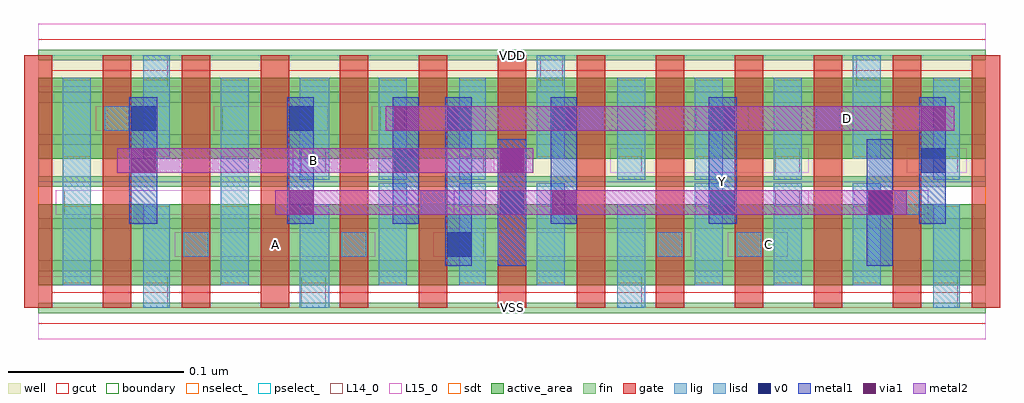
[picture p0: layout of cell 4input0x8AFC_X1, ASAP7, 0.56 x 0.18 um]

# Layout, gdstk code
import gdstk
lib = gdstk.Library(unit=1e-6, precision=1e-09)
def R(c, l, rs):  # rectangles x0, y0, x1, y1
    for r in rs: c.add(gdstk.rectangle(r[:2], r[2:], *l))
def A(c, l, x, y, w, h, nx, ny, dx, dy):  # array of equal rectangles
    R(c, l, [(x+i*dx, y+j*dy, x+i*dx+w, y+j*dy+h) for i in range(nx) for j in range(ny)])
def P(c, l, *ps):  # polygons
    for p in ps: c.add(gdstk.Polygon(p, *l))
well = (1, 0)
fin = (2, 0)
gate = (7, 0)
gcut = (10, 0)
active_area = (11, 0)
nselect_ = (12, 0)
pselect_ = (13, 0)
L14_0 = (14, 0)
L15_0 = (15, 0)
lig = (16, 0)
lisd = (17, 0)
v0 = (18, 0)
metal1 = (19, 0)
metal2 = (20, 0)
via1 = (21, 0)
sdt = (88, 0)
boundary = (100, 0)

c_4input0x8afc_x1 = lib.new_cell('4input0x8AFC_X1')
R(c_4input0x8afc_x1, well, [(0,0.072,0.54,0.144)])
A(c_4input0x8afc_x1, fin, 0, -0.003, 0.54, 0.006, 1, 7, 0, 0.024)
A(c_4input0x8afc_x1, gate, -0.008, 0, 0.016, 0.144, 13, 1, 0.045, 0)
P(c_4input0x8afc_x1, gcut, [(0,-0.009),(0,0),(-0.008,0),(-0.008,0.135),(0.008,0.135),(0.008,0.009),(0.127,0.009),(0.127,0.135),(0.143,0.135),(0.143,0.009),(0.532,0.009),(0.532,0.135),(-0.008,0.135),(-0.008,0.144),(0,0.144),(0,0.153),(0.54,0.153),(0.54,0.144),(0.548,0.144),(0.548,0),(0.54,0),(0.54,-0.009)])
R(c_4input0x8afc_x1, active_area, [(0,0.013,0.54,0.059), (0,0.085,0.54,0.131)])
R(c_4input0x8afc_x1, nselect_, [(0,0,0.54,0.072)])
R(c_4input0x8afc_x1, pselect_, [(0,0.072,0.54,0.144)])
A(c_4input0x8afc_x1, L14_0, 0.15, 0, 0.014, 0.018, 3, 1, 0.18, 0)
A(c_4input0x8afc_x1, L14_0, 0.15, 0.077, 0.014, 0.014, 5, 1, 0.09, 0)
R(c_4input0x8afc_x1, L14_0, [(0.06,0,0.074,0.018), (0.083,0.029,0.097,0.043), (0.173,0.029,0.187,0.043), (0.24,0.029,0.254,0.043), (0.353,0.029,0.367,0.043), (0.398,0.029,0.412,0.043), (0.015,0.053,0.03,0.067), (0.218,0.053,0.232,0.067), (0.263,0.053,0.277,0.067), (0.42,0.053,0.434,0.067), (0.488,0.053,0.502,0.067), (0.038,0.101,0.052,0.115), (0.105,0.101,0.12,0.115), (0.195,0.101,0.209,0.115), (0.308,0.101,0.322,0.115), (0.375,0.101,0.389,0.115), (0.443,0.101,0.457,0.115), (0.06,0.126,0.074,0.144), (0.286,0.126,0.299,0.144), (0.466,0.126,0.48,0.144)])
R(c_4input0x8afc_x1, L15_0, [(0,-0.018,0.54,0.018), (0.078,0.029,0.192,0.043), (0.225,0.029,0.372,0.043), (0.393,0.029,0.427,0.043), (0.01,0.053,0.237,0.067), (0.255,0.053,0.292,0.067), (0.375,0.053,0.439,0.067), (0.465,0.053,0.507,0.067), (0.145,0.077,0.26,0.091), (0.326,0.077,0.439,0.091), (0.495,0.077,0.529,0.091), (0.033,0.101,0.075,0.115), (0.1,0.101,0.165,0.115), (0.19,0.101,0.255,0.115), (0.285,0.101,0.327,0.115), (0.37,0.101,0.405,0.115), (0.438,0.101,0.472,0.115), (0,0.126,0.54,0.162)])
R(c_4input0x8afc_x1, lig, [(0.083,0.029,0.097,0.043), (0.173,0.029,0.187,0.043), (0.353,0.029,0.367,0.043), (0.398,0.029,0.412,0.043), (0.218,0.053,0.232,0.067), (0.263,0.053,0.277,0.067), (0.488,0.053,0.502,0.067), (0.038,0.101,0.052,0.115), (0.308,0.101,0.322,0.115), (0.443,0.101,0.457,0.115)])
A(c_4input0x8afc_x1, lisd, 0.194, 0.013, 0.016, 0.058, 3, 1, 0.09, 0)
R(c_4input0x8afc_x1, lisd, [(0.06,0,0.075,0.059), (0.149,0,0.166,0.059), (0.33,0,0.346,0.059), (0.51,0,0.525,0.059), (0.014,0.013,0.03,0.131), (0.104,0.013,0.12,0.131), (0.24,0.013,0.255,0.071), (0.419,0.013,0.435,0.071), (0.464,0.013,0.48,0.071), (0.149,0.073,0.166,0.131), (0.194,0.073,0.21,0.131), (0.24,0.073,0.255,0.131), (0.33,0.073,0.346,0.131), (0.374,0.073,0.39,0.131), (0.419,0.073,0.435,0.131), (0.51,0.073,0.525,0.131), (0.06,0.085,0.075,0.144), (0.284,0.085,0.3,0.144), (0.464,0.085,0.48,0.144)])
A(c_4input0x8afc_x1, v0, 0.053, 0.101, 0.014, 0.014, 3, 1, 0.09, 0)
R(c_4input0x8afc_x1, v0, [(0.233,0.029,0.247,0.043), (0.263,0.053,0.277,0.067), (0.383,0.053,0.397,0.067), (0.473,0.053,0.487,0.067), (0.203,0.077,0.217,0.091), (0.503,0.077,0.517,0.091), (0.293,0.101,0.307,0.115), (0.383,0.101,0.397,0.115)])
R(c_4input0x8afc_x1, metal1, [(0.232,0.024,0.247,0.12), (0.262,0.024,0.278,0.096), (0.472,0.024,0.487,0.096), (0.052,0.048,0.068,0.12), (0.142,0.048,0.157,0.12), (0.202,0.048,0.217,0.12), (0.292,0.048,0.307,0.12), (0.382,0.048,0.398,0.12), (0.502,0.048,0.517,0.12)])
R(c_4input0x8afc_x1, metal2, [(0.135,0.053,0.495,0.067), (0.045,0.077,0.282,0.091), (0.198,0.101,0.522,0.115)])
R(c_4input0x8afc_x1, via1, [(0.143,0.053,0.157,0.067), (0.293,0.053,0.307,0.067), (0.473,0.053,0.487,0.067), (0.053,0.077,0.067,0.091), (0.263,0.077,0.277,0.091), (0.203,0.101,0.217,0.115), (0.503,0.101,0.517,0.115)])
A(c_4input0x8afc_x1, sdt, 0.014, 0.014, 0.016, 0.044, 4, 2, 0.09, 0.072)
A(c_4input0x8afc_x1, sdt, 0.374, 0.014, 0.016, 0.044, 3, 2, 0.045, 0.072)
R(c_4input0x8afc_x1, sdt, [(0.06,0.014,0.075,0.058), (0.149,0.014,0.166,0.058), (0.24,0.014,0.255,0.058), (0.33,0.014,0.346,0.058), (0.51,0.014,0.525,0.058), (0.06,0.086,0.075,0.13), (0.149,0.086,0.166,0.13), (0.24,0.086,0.255,0.13), (0.33,0.086,0.346,0.13), (0.51,0.086,0.525,0.13)])
R(c_4input0x8afc_x1, boundary, [(0,0,0.54,0.144)])
c_4input0x8afc_x1.add(gdstk.Label('C', (0.416,0.036), layer=15, texttype=251))
c_4input0x8afc_x1.add(gdstk.Label('VSS', (0.27,0), layer=15, texttype=251))
c_4input0x8afc_x1.add(gdstk.Label('VDD', (0.27,0.144), layer=15, texttype=251))
c_4input0x8afc_x1.add(gdstk.Label('A', (0.135,0.036), layer=15, texttype=251))
c_4input0x8afc_x1.add(gdstk.Label('VSS', (0.27,0), layer=15, texttype=251))
c_4input0x8afc_x1.add(gdstk.Label('VDD', (0.27,0.144), layer=15, texttype=251))
c_4input0x8afc_x1.add(gdstk.Label('D', (0.461,0.108), layer=15, texttype=251))
c_4input0x8afc_x1.add(gdstk.Label('VSS', (0.27,0), layer=15, texttype=251))
c_4input0x8afc_x1.add(gdstk.Label('VDD', (0.27,0.144), layer=15, texttype=251))
c_4input0x8afc_x1.add(gdstk.Label('VSS', (0.27,0), layer=15, texttype=251))
c_4input0x8afc_x1.add(gdstk.Label('VDD', (0.27,0.144), layer=15, texttype=251))
c_4input0x8afc_x1.add(gdstk.Label('VSS', (0.27,0), layer=15, texttype=251))
c_4input0x8afc_x1.add(gdstk.Label('VDD', (0.27,0.144), layer=15, texttype=251))
c_4input0x8afc_x1.add(gdstk.Label('VSS', (0.27,0), layer=3, texttype=251))
c_4input0x8afc_x1.add(gdstk.Label('VSS', (0.27,0), layer=3, texttype=251))
c_4input0x8afc_x1.add(gdstk.Label('VSS', (0.27,0), layer=3, texttype=251))
c_4input0x8afc_x1.add(gdstk.Label('VSS', (0.27,0), layer=3, texttype=251))
c_4input0x8afc_x1.add(gdstk.Label('VSS', (0.27,0), layer=3, texttype=251))
c_4input0x8afc_x1.add(gdstk.Label('VDD', (0.27,0.144), layer=1, texttype=251))
c_4input0x8afc_x1.add(gdstk.Label('VDD', (0.27,0.144), layer=1, texttype=251))
c_4input0x8afc_x1.add(gdstk.Label('VDD', (0.27,0.144), layer=1, texttype=251))
c_4input0x8afc_x1.add(gdstk.Label('VDD', (0.27,0.144), layer=1, texttype=251))
c_4input0x8afc_x1.add(gdstk.Label('VDD', (0.27,0.144), layer=1, texttype=251))
c_4input0x8afc_x1.add(gdstk.Label('B', (0.157,0.084), layer=20, texttype=251))
c_4input0x8afc_x1.add(gdstk.Label('Y', (0.39,0.072), layer=19, texttype=251))

lib.write_gds('4input0x8AFC_X1.gds')
